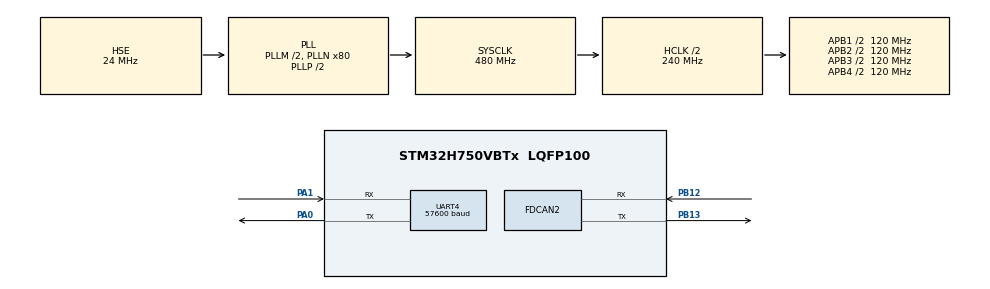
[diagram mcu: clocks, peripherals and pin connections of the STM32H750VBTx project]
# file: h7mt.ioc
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Dma.Request0=UART4_RX
Dma.Request1=UART4_TX
Dma.UART4_RX.0.Direction=DMA_PERIPH_TO_MEMORY
Dma.UART4_RX.0.EventEnable=DISABLE
Dma.UART4_RX.0.FIFOMode=DMA_FIFOMODE_DISABLE
Dma.UART4_RX.0.Instance=DMA1_Stream0
Dma.UART4_RX.0.MemDataAlignment=DMA_MDATAALIGN_BYTE
Dma.UART4_RX.0.MemInc=DMA_MINC_ENABLE
Dma.UART4_RX.0.Mode=DMA_NORMAL
Dma.UART4_RX.0.PeriphDataAlignment=DMA_PDATAALIGN_BYTE
Dma.UART4_RX.0.PeriphInc=DMA_PINC_DISABLE
Dma.UART4_RX.0.Polarity=HAL_DMAMUX_REQ_GEN_RISING
Dma.UART4_RX.0.Priority=DMA_PRIORITY_LOW
Dma.UART4_RX.0.RequestNumber=1
Dma.UART4_RX.0.SignalID=NONE
Dma.UART4_RX.0.SyncEnable=DISABLE
Dma.UART4_RX.0.SyncPolarity=HAL_DMAMUX_SYNC_NO_EVENT
Dma.UART4_RX.0.SyncRequestNumber=1
Dma.UART4_RX.0.SyncSignalID=NONE
Dma.UART4_TX.1.Direction=DMA_MEMORY_TO_PERIPH
Dma.UART4_TX.1.EventEnable=DISABLE
Dma.UART4_TX.1.FIFOMode=DMA_FIFOMODE_DISABLE
Dma.UART4_TX.1.Instance=DMA1_Stream1
Dma.UART4_TX.1.MemDataAlignment=DMA_MDATAALIGN_BYTE
Dma.UART4_TX.1.MemInc=DMA_MINC_ENABLE
Dma.UART4_TX.1.Mode=DMA_NORMAL
Dma.UART4_TX.1.PeriphDataAlignment=DMA_PDATAALIGN_BYTE
Dma.UART4_TX.1.PeriphInc=DMA_PINC_DISABLE
Dma.UART4_TX.1.Polarity=HAL_DMAMUX_REQ_GEN_RISING
Dma.UART4_TX.1.Priority=DMA_PRIORITY_LOW
Dma.UART4_TX.1.RequestNumber=1
Dma.UART4_TX.1.SignalID=NONE
Dma.UART4_TX.1.SyncEnable=DISABLE
Dma.UART4_TX.1.SyncPolarity=HAL_DMAMUX_SYNC_NO_EVENT
Dma.UART4_TX.1.SyncRequestNumber=1
Dma.UART4_TX.1.SyncSignalID=NONE
FREERTOS.Tasks01=defaultTask,24,128,StartDefaultTask,Default,NULL,Dynamic,NULL,NULL;NMTask,8,16384,NMMain,Default,NULL,Dynamic,NULL,NULL;ROSTask,8,16384,ROSClientMain,Default,NULL,Dynamic,NULL,NULL;PDOTask,8,8192,HostPDOMain,Default,NULL,Dynamic,NULL,NULL
FREERTOS.configENABLE_FPU=1
FREERTOS.configGENERATE_RUN_TIME_STATS=1
FREERTOS.configTOTAL_HEAP_SIZE=344064
FREERTOS.configUSE_STATS_FORMATTING_FUNCTIONS=1
Mcu.Family=STM32H7
Mcu.Name=STM32H750VBTx
Mcu.Package=LQFP100
NVIC.DMA1_Stream0_IRQn=true\:5\:0\:false\:false\:true\:true\:false\:true
NVIC.DMA1_Stream1_IRQn=true\:5\:0\:false\:false\:true\:true\:false\:true
NVIC.FDCAN2_IT0_IRQn=true\:5\:0\:false\:false\:true\:true\:true\:true
NVIC.FDCAN2_IT1_IRQn=true\:5\:0\:false\:false\:true\:true\:true\:true
NVIC.FDCAN_CAL_IRQn=true\:5\:0\:false\:false\:true\:true\:true\:true
NVIC.PriorityGroup=NVIC_PRIORITYGROUP_4
NVIC.TIM1_UP_IRQn=true\:0\:0\:false\:false\:true\:false\:false\:true
NVIC.TIM8_UP_TIM13_IRQn=true\:0\:0\:false\:false\:true\:true\:true\:true
NVIC.TimeBase=TIM1_UP_IRQn
NVIC.TimeBaseIP=TIM1
NVIC.UART4_IRQn=true\:5\:0\:false\:false\:true\:true\:true\:true
PA0.Mode=Asynchronous
PA0.Signal=UART4_TX
PA1.Mode=Asynchronous
PA1.Signal=UART4_RX
PB12.Mode=FDCANSlave
PB12.Signal=FDCAN2_RX
PB13.Mode=FDCANSlave
PB13.Signal=FDCAN2_TX
PC14-OSC32_IN\ (OSC32_IN).Mode=LSE-External-Oscillator
PC14-OSC32_IN\ (OSC32_IN).Signal=RCC_OSC32_IN
PC15-OSC32_OUT\ (OSC32_OUT).Mode=LSE-External-Oscillator
PC15-OSC32_OUT\ (OSC32_OUT).Signal=RCC_OSC32_OUT
PH0-OSC_IN\ (PH0).Mode=HSE-External-Oscillator
PH0-OSC_IN\ (PH0).Signal=RCC_OSC_IN
PH1-OSC_OUT\ (PH1).Mode=HSE-External-Oscillator
PH1-OSC_OUT\ (PH1).Signal=RCC_OSC_OUT
ProjectManager.HeapSize=0x200
ProjectManager.StackSize=0x400
ProjectManager.TargetToolchain=STM32CubeIDE
RCC.ADCFreq_Value=48375000
RCC.APB1Freq_Value=120000000
RCC.APB2Freq_Value=120000000
RCC.APB3Freq_Value=120000000
RCC.APB4Freq_Value=120000000
RCC.CortexFreq_Value=480000000
RCC.D1PPRE=RCC_APB3_DIV2
RCC.D2PPRE1=RCC_APB1_DIV2
RCC.D2PPRE2=RCC_APB2_DIV2
RCC.D3PPRE=RCC_APB4_DIV2
RCC.DIVM1=2
RCC.DIVN1=80
RCC.DIVQ1=24
RCC.HCLKFreq_Value=240000000
RCC.HPRE=RCC_HCLK_DIV2
RCC.HSE_VALUE=24000000
RCC.PLL2FRACN=0
RCC.PLL3FRACN=0
RCC.PLLFRACN=0
RCC.PLLSourceVirtual=RCC_PLLSOURCE_HSE
RCC.SYSCLKFreq_VALUE=480000000
RCC.SYSCLKSource=RCC_SYSCLKSOURCE_PLLCLK
RCC.USBFreq_Value=40000000
TIM13.Period=1199
TIM13.Prescaler=1
UART4.BaudRate=57600
VP_FREERTOS_VS_CMSIS_V2.Mode=CMSIS_V2
VP_SYS_VS_tim1.Mode=TIM1
VP_TIM13_VS_ClockSourceINT.Mode=Enable_Timer
board=custom

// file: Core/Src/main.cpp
/* USER CODE BEGIN Header */
/**
  ******************************************************************************
  * @file           : main.c
  * @brief          : Main program body
  ******************************************************************************
  * @attention
  *
  * <h2><center>&copy; Copyright (c) 2020 STMicroelectronics.
  * All rights reserved.</center></h2>
  *
  * This software component is licensed by ST under Ultimate Liberty license
  * SLA0044, the "License"; You may not use this file except in compliance with
  * the License. You may obtain a copy of the License at:
  *                             www.st.com/SLA0044
  *
  ******************************************************************************
  */
/* USER CODE END Header */

#include "main.h"
#include "cmsis_os.h"

/* USER CODE BEGIN Includes */
#include "cmsis_os2.h"
#include "FreeRTOS.h"
#include "queue.h"

#include <ros.h>
#include <std_msgs/String.h>
#include <sensor_msgs/JointState.h>
#include "msgsubscriber.h"

#include "CANopen.h"
#include "nm.h"
#include "bm.h"
#include "mcm.h"
#include "pdom.h"
#include "log.h"
/* USER CODE END Includes */

/* USER CODE BEGIN PTD */
static void CPU_CACHE_Enable(void);
extern "C" void initialise_monitor_handles(void);
/* USER CODE END PTD */

FDCAN_HandleTypeDef hfdcan2;

TIM_HandleTypeDef htim13;

UART_HandleTypeDef huart4;
DMA_HandleTypeDef hdma_uart4_rx;
DMA_HandleTypeDef hdma_uart4_tx;

/* Definitions for defaultTask */
osThreadId_t defaultTaskHandle;
const osThreadAttr_t defaultTask_attributes = {
  .name = "defaultTask",
  .attr_bits = 0,
  .cb_mem = NULL,
  .cb_size = 0,
  .stack_mem = NULL,
  .stack_size = 1024 * 4,
  .priority = (osPriority_t) osPriorityNormal,

};
/* Definitions for NMTask */
osThreadId_t NMTaskHandle;
const osThreadAttr_t NMTask_attributes = {
  .name = "NMTask",
  .attr_bits = 0,
  .cb_mem = NULL,
  .cb_size = 0,
  .stack_mem = NULL,
  .stack_size = 2048 * 4,
  .priority = (osPriority_t) osPriorityLow,

};
/* Definitions for ROSTask */
osThreadId_t ROSTaskHandle;
const osThreadAttr_t ROSTask_attributes = {
  .name = "ROSTask",
  .attr_bits = 0,
  .cb_mem = NULL,
  .cb_size = 0,
  .stack_mem = NULL,
  .stack_size = 2048 * 4,
  .priority = (osPriority_t) osPriorityLow,
};

/* Definitions for PDOTask */
osThreadId_t PDOTaskHandle;
const osThreadAttr_t PDOTask_attributes = {
  .name = "PDOTask",
  .attr_bits = 0,
  .cb_mem = NULL,
  .cb_size = 0,
  .stack_mem = NULL,
  .stack_size = 2048 * 4,
  .priority = (osPriority_t) osPriorityLow,
};

/* USER CODE BEGIN PV */
osEventFlagsId_t  pdomEvent;
const uint32_t    pdomFlag = 0x0001;
ros::NodeHandle*  ROSNodeH;

QueueHandle_t g_BMMsgQueue;

/* USER CODE END PV */

void SystemClock_Config(void);
static void MX_GPIO_Init(void);
static void MX_DMA_Init(void);
static void MX_FDCAN2_Init(void);
static void MX_UART4_Init(void);
static void MX_TIM13_Init(void);

void StartDefaultTask(void *argument);
void NMMain(void *argument);
void ROSClientMain(void *argument);
void HostPDOMain(void *argument);

/* USER CODE BEGIN PFP */
#define NODEACTUALVALUES_PUB_DUR  50
/* USER CODE END PFP */

int main(void)
{
  /* USER CODE BEGIN 1 */
  initialise_monitor_handles();

  //CPU_CACHE_Enable();

  /* USER CODE END 1 */

  /* MCU Configuration--------------------------------------------------------*/

  /* Reset of all peripherals, Initializes the Flash interface and the Systick. */
  HAL_Init();

  /* Configure the system clock */
  SystemClock_Config();

  /* Initialize all configured peripherals */
  MX_GPIO_Init();
  MX_DMA_Init();
  MX_FDCAN2_Init();
  MX_UART4_Init();
  MX_TIM13_Init();

  /* USER CODE BEGIN 2 */
#if (DEBUG == 1)
  LOG_Init(LOG_InfoLevel, 1, LOG_MonOut);
#else
  LOG_Init(LOG_WarningLevel, 0, LOG_MonOut);
#endif

  pdomEvent = osEventFlagsNew(NULL);

  ROSNodeH = new ros::NodeHandle();

  NM_New();

  /* USER CODE END 2 */

  /* Init scheduler */
  osKernelInitialize();

  /* USER CODE BEGIN RTOS_QUEUES */
  g_BMMsgQueue = xQueueCreate(16, sizeof(BM_NodeMessage));

  //PDOM_Init();
  /* USER CODE END RTOS_QUEUES */

  /* Create the thread(s) */
  /* creation of defaultTask */
  defaultTaskHandle = osThreadNew(StartDefaultTask, NULL, &defaultTask_attributes);

  /* creation of NMTask */
  NMTaskHandle = osThreadNew(NMMain, NULL, &NMTask_attributes);

  /* creation of ROSTask */
  ROSTaskHandle = osThreadNew(ROSClientMain, NULL, &ROSTask_attributes);

  /* creation of PDOTask */
  PDOTaskHandle = osThreadNew(HostPDOMain, NULL, &PDOTask_attributes);

  size_t memsz = xPortGetFreeHeapSize();
  printf("Free heap size: %d\n", memsz);

  /* Start scheduler */
  osKernelStart();

  /* We should never get here as control is now taken by the scheduler */
  /* Infinite loop */
  while (1)
  {

  }
}

void SystemClock_Config(void)
{
  RCC_OscInitTypeDef RCC_OscInitStruct = {0};
  RCC_ClkInitTypeDef RCC_ClkInitStruct = {0};
  RCC_PeriphCLKInitTypeDef PeriphClkInitStruct = {0};

  /** Supply configuration update enable
  */
  HAL_PWREx_ConfigSupply(PWR_LDO_SUPPLY);
  /** Configure the main internal regulator output voltage
  */
  __HAL_PWR_VOLTAGESCALING_CONFIG(PWR_REGULATOR_VOLTAGE_SCALE0);

  while(!__HAL_PWR_GET_FLAG(PWR_FLAG_VOSRDY)) {}
  /** Initializes the CPU, AHB and APB busses clocks
  */
  RCC_OscInitStruct.OscillatorType = RCC_OSCILLATORTYPE_HSE;
  RCC_OscInitStruct.HSEState = RCC_HSE_ON;
  RCC_OscInitStruct.PLL.PLLState = RCC_PLL_ON;
  RCC_OscInitStruct.PLL.PLLSource = RCC_PLLSOURCE_HSE;
  RCC_OscInitStruct.PLL.PLLM = 2;
  RCC_OscInitStruct.PLL.PLLN = 80;
  RCC_OscInitStruct.PLL.PLLP = 2;
  RCC_OscInitStruct.PLL.PLLQ = 24;
  RCC_OscInitStruct.PLL.PLLR = 2;
  RCC_OscInitStruct.PLL.PLLRGE = RCC_PLL1VCIRANGE_3;
  RCC_OscInitStruct.PLL.PLLVCOSEL = RCC_PLL1VCOWIDE;
  RCC_OscInitStruct.PLL.PLLFRACN = 0;
  if (HAL_RCC_OscConfig(&RCC_OscInitStruct) != HAL_OK)
  {
    Error_Handler();
  }
  /** Initializes the CPU, AHB and APB busses clocks
  */
  RCC_ClkInitStruct.ClockType = RCC_CLOCKTYPE_HCLK|RCC_CLOCKTYPE_SYSCLK
                              |RCC_CLOCKTYPE_PCLK1|RCC_CLOCKTYPE_PCLK2
                              |RCC_CLOCKTYPE_D3PCLK1|RCC_CLOCKTYPE_D1PCLK1;
  RCC_ClkInitStruct.SYSCLKSource = RCC_SYSCLKSOURCE_PLLCLK;
  RCC_ClkInitStruct.SYSCLKDivider = RCC_SYSCLK_DIV1;
  RCC_ClkInitStruct.AHBCLKDivider = RCC_HCLK_DIV2;
  RCC_ClkInitStruct.APB3CLKDivider = RCC_APB3_DIV2;
  RCC_ClkInitStruct.APB1CLKDivider = RCC_APB1_DIV2;
  RCC_ClkInitStruct.APB2CLKDivider = RCC_APB2_DIV2;
  RCC_ClkInitStruct.APB4CLKDivider = RCC_APB4_DIV2;

  if (HAL_RCC_ClockConfig(&RCC_ClkInitStruct, FLASH_LATENCY_4) != HAL_OK)
  {
    Error_Handler();
  }
  PeriphClkInitStruct.PeriphClockSelection = RCC_PERIPHCLK_UART4|RCC_PERIPHCLK_FDCAN;
  PeriphClkInitStruct.FdcanClockSelection = RCC_FDCANCLKSOURCE_PLL;
  PeriphClkInitStruct.Usart234578ClockSelection = RCC_USART234578CLKSOURCE_D2PCLK1;
  if (HAL_RCCEx_PeriphCLKConfig(&PeriphClkInitStruct) != HAL_OK)
  {
    Error_Handler();
  }
}

static void MX_FDCAN2_Init(void)
{

  hfdcan2.Instance = FDCAN2;
  hfdcan2.Init.FrameFormat = FDCAN_FRAME_CLASSIC;
  hfdcan2.Init.Mode = FDCAN_MODE_NORMAL;
  hfdcan2.Init.AutoRetransmission = DISABLE;
  hfdcan2.Init.TransmitPause = DISABLE;
  hfdcan2.Init.ProtocolException = DISABLE;
  hfdcan2.Init.NominalPrescaler = 1;
  hfdcan2.Init.NominalSyncJumpWidth = 1;
  hfdcan2.Init.NominalTimeSeg1 = 2;
  hfdcan2.Init.NominalTimeSeg2 = 2;
  hfdcan2.Init.DataPrescaler = 1;
  hfdcan2.Init.DataSyncJumpWidth = 1;
  hfdcan2.Init.DataTimeSeg1 = 1;
  hfdcan2.Init.DataTimeSeg2 = 1;
  hfdcan2.Init.MessageRAMOffset = 0;
  hfdcan2.Init.StdFiltersNbr = 0;
  hfdcan2.Init.ExtFiltersNbr = 0;
  hfdcan2.Init.RxFifo0ElmtsNbr = 0;
  hfdcan2.Init.RxFifo0ElmtSize = FDCAN_DATA_BYTES_8;
  hfdcan2.Init.RxFifo1ElmtsNbr = 0;
  hfdcan2.Init.RxFifo1ElmtSize = FDCAN_DATA_BYTES_8;
  hfdcan2.Init.RxBuffersNbr = 0;
  hfdcan2.Init.RxBufferSize = FDCAN_DATA_BYTES_8;
  hfdcan2.Init.TxEventsNbr = 0;
  hfdcan2.Init.TxBuffersNbr = 0;
  hfdcan2.Init.TxFifoQueueElmtsNbr = 0;
  hfdcan2.Init.TxFifoQueueMode = FDCAN_TX_FIFO_OPERATION;
  hfdcan2.Init.TxElmtSize = FDCAN_DATA_BYTES_8;
  if (HAL_FDCAN_Init(&hfdcan2) != HAL_OK)
  {
    Error_Handler();
  }

}

static void MX_TIM13_Init(void)
{

  htim13.Instance = TIM13;
  htim13.Init.Prescaler = 1;
  htim13.Init.CounterMode = TIM_COUNTERMODE_UP;
  htim13.Init.Period = 1199;
  htim13.Init.ClockDivision = TIM_CLOCKDIVISION_DIV1;
  htim13.Init.AutoReloadPreload = TIM_AUTORELOAD_PRELOAD_DISABLE;
  if (HAL_TIM_Base_Init(&htim13) != HAL_OK)
  {
    Error_Handler();
  }

}

static void MX_UART4_Init(void)
{

  huart4.Instance = UART4;
  huart4.Init.BaudRate = 115200;
  huart4.Init.WordLength = UART_WORDLENGTH_8B;
  huart4.Init.StopBits = UART_STOPBITS_1;
  huart4.Init.Parity = UART_PARITY_NONE;
  huart4.Init.Mode = UART_MODE_TX_RX;
  huart4.Init.HwFlowCtl = UART_HWCONTROL_NONE;
  huart4.Init.OverSampling = UART_OVERSAMPLING_16;
  huart4.Init.OneBitSampling = UART_ONE_BIT_SAMPLE_DISABLE;
  huart4.Init.ClockPrescaler = UART_PRESCALER_DIV1;
  huart4.AdvancedInit.AdvFeatureInit = UART_ADVFEATURE_NO_INIT;
  if (HAL_UART_Init(&huart4) != HAL_OK)
  {
    Error_Handler();
  }
  if (HAL_UARTEx_SetTxFifoThreshold(&huart4, UART_TXFIFO_THRESHOLD_1_8) != HAL_OK)
  {
    Error_Handler();
  }
  if (HAL_UARTEx_SetRxFifoThreshold(&huart4, UART_RXFIFO_THRESHOLD_1_8) != HAL_OK)
  {
    Error_Handler();
  }
  if (HAL_UARTEx_DisableFifoMode(&huart4) != HAL_OK)
  {
    Error_Handler();
  }

}

static void MX_DMA_Init(void)
{

  /* DMA controller clock enable */
  __HAL_RCC_DMA1_CLK_ENABLE();

  /* DMA interrupt init */
  /* DMA1_Stream0_IRQn interrupt configuration */
  HAL_NVIC_SetPriority(DMA1_Stream0_IRQn, 5, 0);
  HAL_NVIC_EnableIRQ(DMA1_Stream0_IRQn);
  /* DMA1_Stream1_IRQn interrupt configuration */
  HAL_NVIC_SetPriority(DMA1_Stream1_IRQn, 5, 0);
  HAL_NVIC_EnableIRQ(DMA1_Stream1_IRQn);

}

static void MX_GPIO_Init(void)
{

  /* GPIO Ports Clock Enable */
  __HAL_RCC_GPIOC_CLK_ENABLE();
  __HAL_RCC_GPIOH_CLK_ENABLE();
  __HAL_RCC_GPIOA_CLK_ENABLE();
  __HAL_RCC_GPIOB_CLK_ENABLE();

}

/* USER CODE BEGIN 4 */
static void CPU_CACHE_Enable(void)
{
  /* Enable I-Cache */
  SCB_EnableICache();

  /* Enable D-Cache */
  SCB_EnableDCache();
}
/* USER CODE END 4 */

void StartDefaultTask(void *argument)
{
  /* USER CODE BEGIN 5 */
  /* Infinite loop */
  for(;;)
  {
    osDelay(10);
  }
  /* USER CODE END 5 */
}

void NMMain(void *argument)
{
  /* USER CODE BEGIN NMMain */
  NM_Init(&hfdcan2, 1);

  osEventFlagsSet(pdomEvent, pdomFlag);

  uint32_t timerNext;
  uint32_t timeInterval = 400;

  /* Infinite loop */
  for(;;) {

	CO_process(CO, timeInterval, &timerNext);

    if(CO->CANmodule[0]->CANnormal) {

	  //CO_process_SYNC(CO, timeInterval, &timerSyncNext);

	  CO_CANpolling_Tx(CO->CANmodule[0]);

	  BM_Process();

      if(0) {
        CO_errorReport(CO->em, CO_EM_ISR_TIMER_OVERFLOW, CO_EMC_SOFTWARE_INTERNAL, 0U);
	  }
	}

    osDelay(5);
  }
  /* USER CODE END NMMain */
}

void ROSClientMain(void *argument)
{
  /* USER CODE BEGIN ROSClientMain */
  char nodeActualValues[256];

  ros::Subscriber<std_msgs::String> subscriber("MTMsg", MsgSubscriberCallback);

  std_msgs::String pubMsg;
  ros::Publisher publisher("MTNodeAct", &pubMsg);

  ROSNodeH->initNode();
  ROSNodeH->subscribe(subscriber);
  ROSNodeH->advertise(publisher);

  uint32_t ticks = 0;

  /* Infinite loop */
  for(;;)
  {
    ROSNodeH->spinOnce();

    if (++ticks >= NODEACTUALVALUES_PUB_DUR){
      ticks = 0;
      MCM_updateNodeActualValues(nodeActualValues, 256);
      pubMsg.data = nodeActualValues;
      publisher.publish(&pubMsg);
    }

    osDelay(1);
  }
  /* USER CODE END ROSClientMain */
}

void HostPDOMain(void *argument)
{
  /* USER CODE BEGIN HostPDOMain */
  /* Infinite loop */

  osEventFlagsWait(pdomEvent, pdomFlag, 0,  0xFFFFFFFFU);

  for(;;)
  {
	PDOM_process();
    osDelay(4);
  }
  /* USER CODE END HostPDOMain */
}
 /**
  * @brief  Period elapsed callback in non blocking mode
  * @note   This function is called  when TIM1 interrupt took place, inside
  * HAL_TIM_IRQHandler(). It makes a direct call to HAL_IncTick() to increment
  * a global variable "uwTick" used as application time base.
  * @param  htim : TIM handle
  * @retval None
  */
void HAL_TIM_PeriodElapsedCallback(TIM_HandleTypeDef *htim)
{
  if (htim->Instance == TIM1) {
    HAL_IncTick();
  }
}

void Error_Handler(void)
{
}

/************************ (C) COPYRIGHT STMicroelectronics *****END OF FILE****/

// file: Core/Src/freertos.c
/* USER CODE BEGIN Header */
/**
  ******************************************************************************
  * File Name          : freertos.c
  * Description        : Code for freertos applications
  ******************************************************************************
  * @attention
  *
  * <h2><center>&copy; Copyright (c) 2020 STMicroelectronics.
  * All rights reserved.</center></h2>
  *
  * This software component is licensed by ST under Ultimate Liberty license
  * SLA0044, the "License"; You may not use this file except in compliance with
  * the License. You may obtain a copy of the License at:
  *                             www.st.com/SLA0044
  *
  ******************************************************************************
  */
/* USER CODE END Header */

#include "FreeRTOS.h"
#include "task.h"
#include "main.h"

/* USER CODE BEGIN FunctionPrototypes */
extern TIM_HandleTypeDef htim13;
/* USER CODE END FunctionPrototypes */

/* Hook prototypes */
void configureTimerForRunTimeStats(void);
unsigned long getRunTimeCounterValue(void);

volatile unsigned long ulHighFrequencyTimerTicks;

/* USER CODE BEGIN 1 */
/* Functions needed when configGENERATE_RUN_TIME_STATS is on */
__weak void configureTimerForRunTimeStats(void)
{
	ulHighFrequencyTimerTicks = 0;
	HAL_TIM_Base_Start_IT(&htim13);
}

__weak unsigned long getRunTimeCounterValue(void)
{
	return ulHighFrequencyTimerTicks;
}
/* USER CODE END 1 */

/************************ (C) COPYRIGHT STMicroelectronics *****END OF FILE****/
